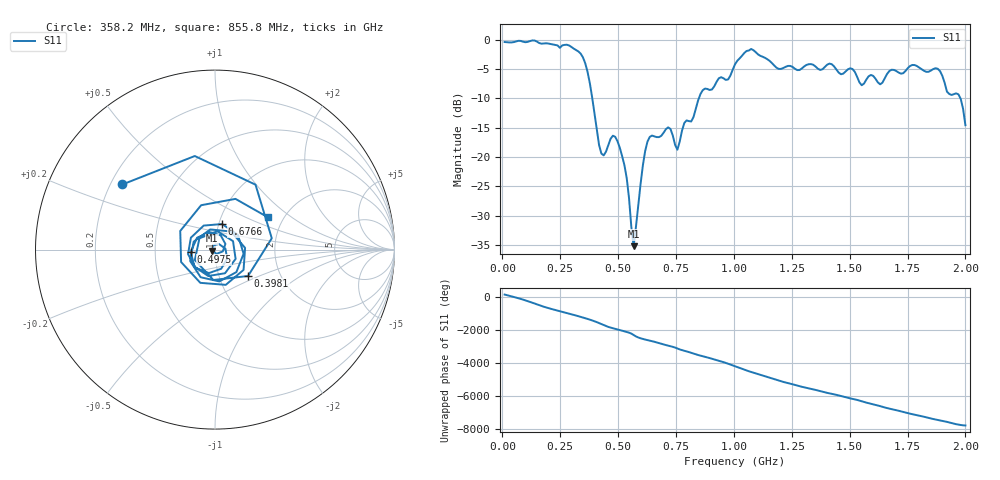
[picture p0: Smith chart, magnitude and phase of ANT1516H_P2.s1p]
!Created with skrf (http://scikit-rf.org).
# Hz S RI R 50.0
!freq ReS11 ImS11
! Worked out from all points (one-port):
!   201 points, 10 MHz to 2 GHz, reference 50 ohm
!   lowest |S11| = -35.2 dB at 567.2 MHz (marker M1), VSWR 1.04, Z = 48.4 - j0.587 ohm
!   |S11| at or under -10 dB: 388.7 MHz to 848.8 MHz (460.1 MHz wide, 74.4 % of centre); 1.979 GHz to end of sweep
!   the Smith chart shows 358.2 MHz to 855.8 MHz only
!   S11 on the Smith chart (normalised r, x): 358.2 MHz: 0.25, +0.30; 398.1 MHz: 1.37, -0.43; 497.6 MHz: 0.76, -0.02; 676.6 MHz: 1.04, +0.30; 855.8 MHz: 1.65, +0.68
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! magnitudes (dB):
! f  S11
! 10 MHz  -0.4
! 258.8 MHz  -0.9
! 358.2 MHz  -4.0
! 398.1 MHz  -12.6
! 427.9 MHz  -19.4
! 497.6 MHz  -17.3
! 507.5 MHz  -18.4
! 537.4 MHz  -23.6
! 567.2 MHz  -35.2
! 617 MHz  -19.0
! 636.9 MHz  -16.6
! 676.6 MHz  -16.6
! 716.5 MHz  -14.9
! 756.2 MHz  -18.8
! 786.1 MHz  -14.2
! 816 MHz  -13.9
! 855.8 MHz  -9.3
! 975.1 MHz  -6.8
! 1.005 GHz  -4.2
! 1.075 GHz  -1.5
! 1.254 GHz  -4.6
! 1.502 GHz  -4.8
! 1.552 GHz  -7.7
! 1.751 GHz  -4.8
! 1.881 GHz  -4.9
! 1.92 GHz  -8.8
! 1.98 GHz  -10.1
! 2 GHz  -14.6
